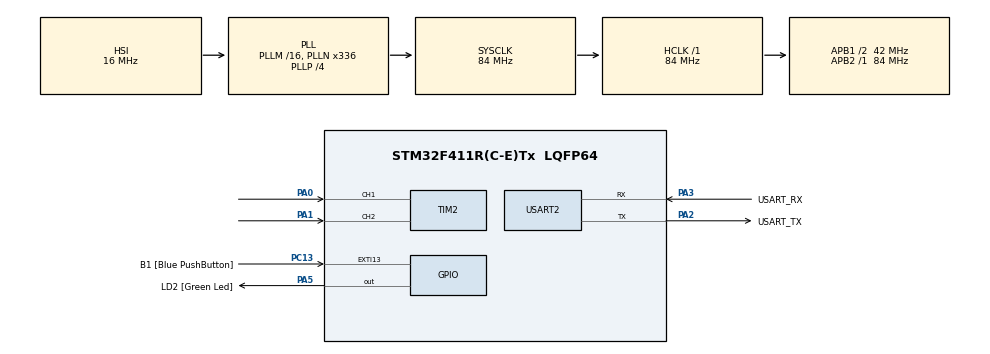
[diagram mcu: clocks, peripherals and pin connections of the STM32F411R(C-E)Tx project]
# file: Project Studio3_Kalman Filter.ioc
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ARM.CMSIS.5.6.0.CMSISJjCORE=true
ARM.CMSIS.5.6.0.CMSISJjDSP=Library
Mcu.Family=STM32F4
Mcu.Name=STM32F411R(C-E)Tx
Mcu.Package=LQFP64
NVIC.PriorityGroup=NVIC_PRIORITYGROUP_0
NVIC.TIM2_IRQn=true\:0\:0\:false\:false\:true\:true\:true\:true
PA0-WKUP.Signal=S_TIM2_CH1_ETR
PA1.Signal=S_TIM2_CH2
PA13.GPIO_Label=TMS
PA13.Mode=Serial_Wire
PA13.Signal=SYS_JTMS-SWDIO
PA14.GPIO_Label=TCK
PA14.Mode=Serial_Wire
PA14.Signal=SYS_JTCK-SWCLK
PA2.GPIO_Label=USART_TX
PA2.Mode=Asynchronous
PA2.Signal=USART2_TX
PA3.GPIO_Label=USART_RX
PA3.Mode=Asynchronous
PA3.Signal=USART2_RX
PA5.GPIO_Label=LD2 [Green Led]
PA5.Signal=GPIO_Output
PB3.GPIO_Label=SWO
PB3.Signal=SYS_JTDO-SWO
PC13-ANTI_TAMP.GPIO_Label=B1 [Blue PushButton]
PC13-ANTI_TAMP.GPIO_ModeDefaultEXTI=GPIO_MODE_IT_FALLING
PC13-ANTI_TAMP.Signal=GPXTI13
PC14-OSC32_IN.Mode=LSE-External-Oscillator
PC14-OSC32_IN.Signal=RCC_OSC32_IN
PC15-OSC32_OUT.Mode=LSE-External-Oscillator
PC15-OSC32_OUT.Signal=RCC_OSC32_OUT
PH0\ -\ OSC_IN.Mode=HSE-External-Clock-Source
PH0\ -\ OSC_IN.Signal=RCC_OSC_IN
PH1\ -\ OSC_OUT.Mode=HSE-External-Clock-Source
PH1\ -\ OSC_OUT.Signal=RCC_OSC_OUT
ProjectManager.HeapSize=0x200
ProjectManager.StackSize=0x400
ProjectManager.TargetToolchain=STM32CubeIDE
RCC.48MHZClocksFreq_Value=84000000
RCC.AHBFreq_Value=84000000
RCC.APB1CLKDivider=RCC_HCLK_DIV2
RCC.APB1Freq_Value=42000000
RCC.APB1TimFreq_Value=84000000
RCC.APB2Freq_Value=84000000
RCC.APB2TimFreq_Value=84000000
RCC.CortexFreq_Value=84000000
RCC.FLatency-AdvancedSettings=FLASH_LATENCY_2
RCC.HCLKFreq_Value=84000000
RCC.HSE_VALUE=8000000
RCC.HSI_VALUE=16000000
RCC.PLLN=336
RCC.PLLP=RCC_PLLP_DIV4
RCC.SYSCLKFreq_VALUE=84000000
RCC.SYSCLKSource=RCC_SYSCLKSOURCE_PLLCLK
RCC.VCOOutputFreq_Value=336000000
SH.S_TIM2_CH1_ETR.0=TIM2_CH1,Encoder_Interface
SH.S_TIM2_CH2.0=TIM2_CH2,Encoder_Interface
TIM2.EncoderMode=TIM_ENCODERMODE_TI12
USART2.VirtualMode=VM_ASYNC
VP_ARM.CMSIS_VS_CMSISJjCORE_5.3.0_5.6.0.Mode=CMSISJjCORE
VP_ARM.CMSIS_VS_CMSISJjDSP_1.7.0_5.6.0.Mode=CMSISJjDSP
board=NUCLEO-F411RE

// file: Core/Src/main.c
/* USER CODE BEGIN Header */
/**
  ******************************************************************************
  * @file           : main.c
  * @brief          : Main program body
  ******************************************************************************
  * @attention
  *
  * Copyright (c) 2023 STMicroelectronics.
  * All rights reserved.
  *
  * This software is licensed under terms that can be found in the LICENSE file
  * in the root directory of this software component.
  * If no LICENSE file comes with this software, it is provided AS-IS.
  *
  ******************************************************************************
  */
/* USER CODE END Header */
#include "main.h"

/* USER CODE BEGIN Includes */
#include "arm_math.h"
/* USER CODE END Includes */

TIM_HandleTypeDef htim2;

UART_HandleTypeDef huart2;

/* USER CODE BEGIN PV */
struct Evaluation
{
	float Position;
	float Velocity;
}Setpoint,Measure;

uint32_t T_prev = 0;
uint32_t T = 0;
float dT = 0;
float P_prev = 0;
uint32_t timestamp = 0;

int32_t QEIReadRaw;

// Constant

// Model Matrix
float32_t A_f32[9] = {
		1, 0.01, 0.00005,
		0, 1, 0.01,
		0, 0, 1
};
arm_matrix_instance_f32 A;

float32_t B_f32[3] = {
		0,
		0,
		0
};
arm_matrix_instance_f32 B;

float32_t C_f32[3] = {
		1,
		0,
		0
};
arm_matrix_instance_f32 C;

float32_t D_f32[1] = {
		0
};
arm_matrix_instance_f32 D;

float32_t G_f32[3] = {
		0.00005,
		0.01,
		1
};
arm_matrix_instance_f32 G;

float32_t Q_f32[1] = {
		10000
};
arm_matrix_instance_f32 Q;

float32_t R_f32[1] = {
		0.001
};
arm_matrix_instance_f32 R;

float32_t M_f32[1] = {
		0
};
arm_matrix_instance_f32 M;

float32_t I3_f32[9] = {
		1, 0, 0,
		0, 1, 0,
		0, 0, 1
};
arm_matrix_instance_f32 I3;

//Initia Condition
float32_t X_f32[3] = {
		0,
		0,
		0
};
arm_matrix_instance_f32 X;

float32_t U_f32[1] = {
		0
};
arm_matrix_instance_f32 U;

float32_t P_f32[9] = {
		0, 0, 0,
		0, 0, 0,
		0, 0, 0
};
arm_matrix_instance_f32 P;

//Transpose Matrix
float32_t At_f32[9];
arm_matrix_instance_f32 At;

float32_t Ct_f32[3];
arm_matrix_instance_f32 Ct;

float32_t Gt_f32[3];
arm_matrix_instance_f32 Gt;

//Prediction Matrix
float32_t X_predict_f32[3];
arm_matrix_instance_f32 X_predict;

float32_t P_predict_f32[9];
arm_matrix_instance_f32 P_predict;

//Prediction_Stage Matrix
float32_t AmX_f32[3];
arm_matrix_instance_f32 AmX;

float32_t BmU_f32[3];
arm_matrix_instance_f32 BmU;

float32_t AmP_f32[9];
arm_matrix_instance_f32 AmP;

float32_t AmPmAt_f32[9];
arm_matrix_instance_f32 AmPmAt;

float32_t GmQ_f32[3];
arm_matrix_instance_f32 GmQ;

float32_t GmQmGt_f32[9];
arm_matrix_instance_f32 GmQmGt;

//Update_Stage Matrix
float32_t K_f32[3];
arm_matrix_instance_f32 K;

float32_t P_predictmCt_f32[3];
arm_matrix_instance_f32 P_predictmCt;

float32_t CmP_predictmCt_f32[1];
arm_matrix_instance_f32 CmP_predictmCt;

float32_t CmP_predictmCtaR_f32[1];
arm_matrix_instance_f32 CmP_predictmCtaR;

float32_t inv_CmP_predictmCtaR_f32[1];
arm_matrix_instance_f32 inv_CmP_predictmCtaR;

float32_t CmX_predict_f32[1];
arm_matrix_instance_f32 CmX_predict;

float32_t MsCmX_predict_f32[1];
arm_matrix_instance_f32 MsCmX_predict;

float32_t KmMsCmX_predict_f32[3];
arm_matrix_instance_f32 KmMsCmX_predict;

float32_t KmC_f32[9];
arm_matrix_instance_f32 KmC;

float32_t I3sKmC_f32[9];
arm_matrix_instance_f32 I3sKmC;

/* USER CODE END PV */

void SystemClock_Config(void);
static void MX_GPIO_Init(void);
static void MX_USART2_UART_Init(void);
static void MX_TIM2_Init(void);
/* USER CODE BEGIN PFP */
void Initial_KalmanFilter();
void KalmanFilter();
/* USER CODE END PFP */

int main(void)
{

  /* MCU Configuration--------------------------------------------------------*/

  /* Reset of all peripherals, Initializes the Flash interface and the Systick. */
  HAL_Init();

  /* Configure the system clock */
  SystemClock_Config();

  /* Initialize all configured peripherals */
  MX_GPIO_Init();
  MX_USART2_UART_Init();
  MX_TIM2_Init();
  /* USER CODE BEGIN 2 */
  HAL_TIM_Encoder_Start(&htim2, TIM_CHANNEL_1|TIM_CHANNEL_2);

  Initial_KalmanFilter();

  /* USER CODE END 2 */

  /* Infinite loop */
  while (1)
  {

    /* USER CODE BEGIN 3 */
	  if(HAL_GetTick() > timestamp)
	  {
		  timestamp += 10;
		  QEIReadRaw = __HAL_TIM_GET_COUNTER(&htim2);
		  T = HAL_GetTick();
		  dT = (T - T_prev)/1000.0;
		  Measure.Position = (QEIReadRaw*6.11*2*3.14)/12000.0;
		  M_f32[0] = Measure.Position;

		  Measure.Velocity = (Measure.Position - P_prev)/dT;
		  KalmanFilter();
		  P_prev = Measure.Position;
		  T_prev = T;
	  }

  }
  /* USER CODE END 3 */
}

void SystemClock_Config(void)
{
  RCC_OscInitTypeDef RCC_OscInitStruct = {0};
  RCC_ClkInitTypeDef RCC_ClkInitStruct = {0};

  /** Configure the main internal regulator output voltage
  */
  __HAL_RCC_PWR_CLK_ENABLE();
  __HAL_PWR_VOLTAGESCALING_CONFIG(PWR_REGULATOR_VOLTAGE_SCALE1);

  /** Initializes the RCC Oscillators according to the specified parameters
  * in the RCC_OscInitTypeDef structure.
  */
  RCC_OscInitStruct.OscillatorType = RCC_OSCILLATORTYPE_HSI;
  RCC_OscInitStruct.HSIState = RCC_HSI_ON;
  RCC_OscInitStruct.HSICalibrationValue = RCC_HSICALIBRATION_DEFAULT;
  RCC_OscInitStruct.PLL.PLLState = RCC_PLL_ON;
  RCC_OscInitStruct.PLL.PLLSource = RCC_PLLSOURCE_HSI;
  RCC_OscInitStruct.PLL.PLLM = 16;
  RCC_OscInitStruct.PLL.PLLN = 336;
  RCC_OscInitStruct.PLL.PLLP = RCC_PLLP_DIV4;
  RCC_OscInitStruct.PLL.PLLQ = 4;
  if (HAL_RCC_OscConfig(&RCC_OscInitStruct) != HAL_OK)
  {
    Error_Handler();
  }

  /** Initializes the CPU, AHB and APB buses clocks
  */
  RCC_ClkInitStruct.ClockType = RCC_CLOCKTYPE_HCLK|RCC_CLOCKTYPE_SYSCLK
                              |RCC_CLOCKTYPE_PCLK1|RCC_CLOCKTYPE_PCLK2;
  RCC_ClkInitStruct.SYSCLKSource = RCC_SYSCLKSOURCE_PLLCLK;
  RCC_ClkInitStruct.AHBCLKDivider = RCC_SYSCLK_DIV1;
  RCC_ClkInitStruct.APB1CLKDivider = RCC_HCLK_DIV2;
  RCC_ClkInitStruct.APB2CLKDivider = RCC_HCLK_DIV1;

  if (HAL_RCC_ClockConfig(&RCC_ClkInitStruct, FLASH_LATENCY_2) != HAL_OK)
  {
    Error_Handler();
  }
}

static void MX_TIM2_Init(void)
{

  TIM_Encoder_InitTypeDef sConfig = {0};
  TIM_MasterConfigTypeDef sMasterConfig = {0};

  htim2.Instance = TIM2;
  htim2.Init.Prescaler = 0;
  htim2.Init.CounterMode = TIM_COUNTERMODE_UP;
  htim2.Init.Period = 4294967295;
  htim2.Init.ClockDivision = TIM_CLOCKDIVISION_DIV1;
  htim2.Init.AutoReloadPreload = TIM_AUTORELOAD_PRELOAD_DISABLE;
  sConfig.EncoderMode = TIM_ENCODERMODE_TI12;
  sConfig.IC1Polarity = TIM_ICPOLARITY_RISING;
  sConfig.IC1Selection = TIM_ICSELECTION_DIRECTTI;
  sConfig.IC1Prescaler = TIM_ICPSC_DIV1;
  sConfig.IC1Filter = 0;
  sConfig.IC2Polarity = TIM_ICPOLARITY_RISING;
  sConfig.IC2Selection = TIM_ICSELECTION_DIRECTTI;
  sConfig.IC2Prescaler = TIM_ICPSC_DIV1;
  sConfig.IC2Filter = 0;
  if (HAL_TIM_Encoder_Init(&htim2, &sConfig) != HAL_OK)
  {
    Error_Handler();
  }
  sMasterConfig.MasterOutputTrigger = TIM_TRGO_RESET;
  sMasterConfig.MasterSlaveMode = TIM_MASTERSLAVEMODE_DISABLE;
  if (HAL_TIMEx_MasterConfigSynchronization(&htim2, &sMasterConfig) != HAL_OK)
  {
    Error_Handler();
  }

}

static void MX_USART2_UART_Init(void)
{

  huart2.Instance = USART2;
  huart2.Init.BaudRate = 115200;
  huart2.Init.WordLength = UART_WORDLENGTH_8B;
  huart2.Init.StopBits = UART_STOPBITS_1;
  huart2.Init.Parity = UART_PARITY_NONE;
  huart2.Init.Mode = UART_MODE_TX_RX;
  huart2.Init.HwFlowCtl = UART_HWCONTROL_NONE;
  huart2.Init.OverSampling = UART_OVERSAMPLING_16;
  if (HAL_UART_Init(&huart2) != HAL_OK)
  {
    Error_Handler();
  }

}

static void MX_GPIO_Init(void)
{
  GPIO_InitTypeDef GPIO_InitStruct = {0};

  /* GPIO Ports Clock Enable */
  __HAL_RCC_GPIOC_CLK_ENABLE();
  __HAL_RCC_GPIOH_CLK_ENABLE();
  __HAL_RCC_GPIOA_CLK_ENABLE();
  __HAL_RCC_GPIOB_CLK_ENABLE();

  /*Configure GPIO pin Output Level */
  HAL_GPIO_WritePin(LD2_GPIO_Port, LD2_Pin, GPIO_PIN_RESET);

  /*Configure GPIO pin : B1_Pin */
  GPIO_InitStruct.Pin = B1_Pin;
  GPIO_InitStruct.Mode = GPIO_MODE_IT_FALLING;
  GPIO_InitStruct.Pull = GPIO_NOPULL;
  HAL_GPIO_Init(B1_GPIO_Port, &GPIO_InitStruct);

  /*Configure GPIO pin : LD2_Pin */
  GPIO_InitStruct.Pin = LD2_Pin;
  GPIO_InitStruct.Mode = GPIO_MODE_OUTPUT_PP;
  GPIO_InitStruct.Pull = GPIO_NOPULL;
  GPIO_InitStruct.Speed = GPIO_SPEED_FREQ_LOW;
  HAL_GPIO_Init(LD2_GPIO_Port, &GPIO_InitStruct);

}

/* USER CODE BEGIN 4 */
void Initial_KalmanFilter()
{
	//init all matrix

	arm_mat_init_f32(&A, 3, 3,(float32_t*) &A_f32);
	arm_mat_init_f32(&B, 3, 1,(float32_t*) &B_f32);
	arm_mat_init_f32(&C, 1, 3,(float32_t*) &C_f32);
	arm_mat_init_f32(&D, 1, 1,(float32_t*) &D_f32);
	arm_mat_init_f32(&G, 3, 1,(float32_t*) &G_f32);

	arm_mat_init_f32(&I3, 3, 3,(float32_t*) &I3_f32);
	arm_mat_init_f32(&X, 3, 1,(float32_t*) &X_f32);
	arm_mat_init_f32(&U, 1, 1,(float32_t*) &U_f32);
	arm_mat_init_f32(&P, 3, 3,(float32_t*) &P_f32);

	arm_mat_init_f32(&At, 3, 3,(float32_t*) &At_f32);
	arm_mat_init_f32(&Ct, 3, 1,(float32_t*) &Ct_f32);
	arm_mat_init_f32(&Gt, 1, 3,(float32_t*) &Gt_f32);

	arm_mat_init_f32(&X_predict, 3, 1,(float32_t*) &X_predict_f32);
	arm_mat_init_f32(&P_predict, 3, 3,(float32_t*) &P_predict_f32);

	arm_mat_init_f32(&AmX, 3, 1,(float32_t*) &AmX_f32);
	arm_mat_init_f32(&BmU, 3, 1,(float32_t*) &BmU_f32);
	arm_mat_init_f32(&AmP, 3, 3,(float32_t*) &AmP_f32);
	arm_mat_init_f32(&AmPmAt, 3, 3,(float32_t*) &AmPmAt_f32);
	arm_mat_init_f32(&GmQ, 3, 1,(float32_t*) &GmQ_f32);
	arm_mat_init_f32(&GmQmGt, 3, 3,(float32_t*) &GmQmGt_f32);

	arm_mat_init_f32(&K, 3, 1,(float32_t*) &K_f32);
	arm_mat_init_f32(&P_predictmCt, 3, 1,(float32_t*) &P_predictmCt_f32);
	arm_mat_init_f32(&CmP_predictmCt, 1, 1,(float32_t*) &CmP_predictmCt_f32);
	arm_mat_init_f32(&CmP_predictmCtaR, 1, 1,(float32_t*) &CmP_predictmCtaR_f32);
	arm_mat_init_f32(&inv_CmP_predictmCtaR, 1, 1,(float32_t*) &inv_CmP_predictmCtaR_f32);
	arm_mat_init_f32(&CmX_predict, 1, 1,(float32_t*) &CmX_predict_f32);
	arm_mat_init_f32(&MsCmX_predict, 1, 1,(float32_t*) &MsCmX_predict_f32);
	arm_mat_init_f32(&KmMsCmX_predict, 3, 1,(float32_t*) &KmMsCmX_predict_f32);
	arm_mat_init_f32(&KmC, 3, 3,(float32_t*) &KmC_f32);
	arm_mat_init_f32(&I3sKmC, 3, 3,(float32_t*) &I3sKmC_f32);

	arm_mat_init_f32(&M, 1, 1,(float32_t*) &M_f32);
	arm_mat_init_f32(&Q, 1, 1,(float32_t*) &Q_f32);
	arm_mat_init_f32(&R, 1, 1,(float32_t*) &R_f32);
}

void KalmanFilter()
{
	// Prediction
	arm_mat_mult_f32(&A, &X, &AmX);//A*X
	arm_mat_mult_f32(&B, &U, &BmU); //B*U
	arm_mat_add_f32(&AmX, &BmU, &X_predict); //X

	arm_mat_mult_f32(&A, &P, &AmP); //A*P
	arm_mat_trans_f32(&A, &At); //At
	arm_mat_mult_f32(&AmP, &At, &AmPmAt); //A*P*At
	arm_mat_mult_f32(&G, &Q, &GmQ); //G*Q
	arm_mat_trans_f32(&G, &Gt); //Gt
	arm_mat_mult_f32(&GmQ, &Gt, &GmQmGt); //G*Q*Gt
	arm_mat_add_f32(&AmPmAt, &GmQmGt, &P_predict); //P

	arm_mat_trans_f32(&C, &Ct); //Ct
	arm_mat_mult_f32(&P_predict, &Ct, &P_predictmCt); //P_predict*Ct
	arm_mat_mult_f32(&C, &P_predictmCt, &CmP_predictmCt); //C*P_predict*Ct
	arm_mat_add_f32(&CmP_predictmCt, &R, &CmP_predictmCtaR); //C*P_predict*Ct + R
	arm_mat_inverse_f32(&CmP_predictmCtaR, &inv_CmP_predictmCtaR);
	arm_mat_mult_f32(&P_predictmCt, &inv_CmP_predictmCtaR, &K); //K

	arm_mat_mult_f32(&C, &X_predict, &CmX_predict); //C*X_predict
	arm_mat_sub_f32(&M, &CmX_predict, &MsCmX_predict); // M - C*X_predict
	arm_mat_mult_f32(&K, &MsCmX_predict, &KmMsCmX_predict); //K*(M - C*X_predict)
	arm_mat_add_f32(&X_predict, &KmMsCmX_predict, &X); //X

	arm_mat_mult_f32(&K, &C, &KmC); // K*C
	arm_mat_sub_f32(&I3, &KmC, &I3sKmC); // I(3) - K*C
	arm_mat_mult_f32(&I3sKmC, &P_predict, &P);
}
/* USER CODE END 4 */

void Error_Handler(void)
{
  __disable_irq();
  while (1)
  {
  }
}
